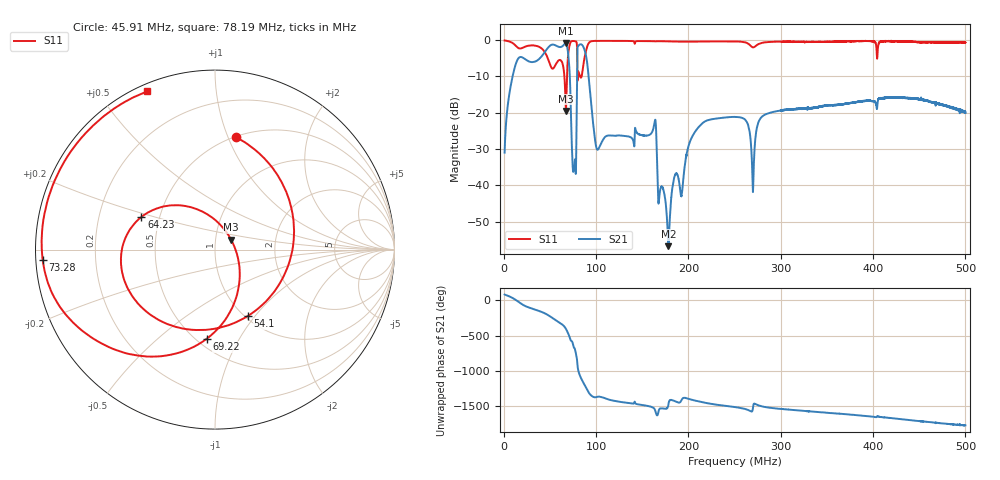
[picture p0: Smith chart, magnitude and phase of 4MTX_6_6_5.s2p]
! NanoVNA-App
! Date: 2026-08-18 22:09:08
! Start: 1MHz Stop: 500MHz Points: 6401
! S-Parameter data: F S11 S21 S12 S22
# Hz S RI R 50
!  Frequency  S11_Real  S11_Imag  S21_Real  S21_Imag  S12_Real  S12_Imag  S22_Real  S22_Imag
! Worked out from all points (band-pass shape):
!   6401 points, 1 MHz to 500 MHz, reference 50 ohm
!   highest |S21| = -0.88 dB at 67.12 MHz (marker M1); lowest = -56.8 dB at 178.4 MHz (marker M2)
!   |S21| within 3 dB of the highest: 42.89 MHz to 69.86 MHz (26.97 MHz wide, 47.8 % of centre); 79.7 MHz to 88.84 MHz (9.144 MHz wide, 10.9 % of centre)
!   lowest |S11| = -19.5 dB at 67.35 MHz (marker M3), VSWR 1.24, Z = 59.4 + j6.75 ohm
!   |S11| at or under -10 dB: 65.74 MHz to 68.51 MHz (2.769 MHz wide, 4.13 % of centre); 79.88424 MHz to 80.25606 MHz (371.8 kHz wide, 0.464 % of centre); 82.71 MHz to 84.36 MHz (1.649 MHz wide, 1.97 % of centre)
!   S12 and S22 are empty: the file has one direction only
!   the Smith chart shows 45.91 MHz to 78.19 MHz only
!   S11 on the Smith chart (normalised r, x): 45.91 MHz: 0.51, +1.07; 54.1 MHz: 1.04, -0.92; 64.23 MHz: 0.40, +0.18; 69.22 MHz: 0.56, -0.74; 73.28 MHz: 0.02, -0.03; 78.19 MHz: 0.03, +0.66
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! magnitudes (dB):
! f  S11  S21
! 1 MHz  -0.1  -31.0
! 14.49 MHz  -1.9  -5.6
! 45.91 MHz  -3.9  -2.8
! 54.1 MHz  -7.7  -1.3
! 64.23 MHz  -7.0  -1.6
! 67.12 MHz  -18.3  -0.9
! 67.35 MHz  -19.5  -0.9
! 69.22 MHz  -6.0  -2.5
! 73.28 MHz  -0.3  -24.6
! 76.16 MHz  -0.3  -35.4
! 78.19 MHz  -0.4  -36.5
! 84.19 MHz  -10.1  -1.2
! 101.3 MHz  -0.2  -30.2
! 162.7 MHz  -0.3  -23.7
! 167.4 MHz  -0.3  -44.4
! 178.4 MHz  -0.3  -56.8
! 206.4 MHz  -0.4  -25.6
! 250.5 MHz  -0.4  -21.2
! 269.9 MHz  -2.0  -41.9
! 333.7 MHz  -0.5  -18.8
! 416.9 MHz  -0.3  -15.9
! 500 MHz  -0.7  -20.1
